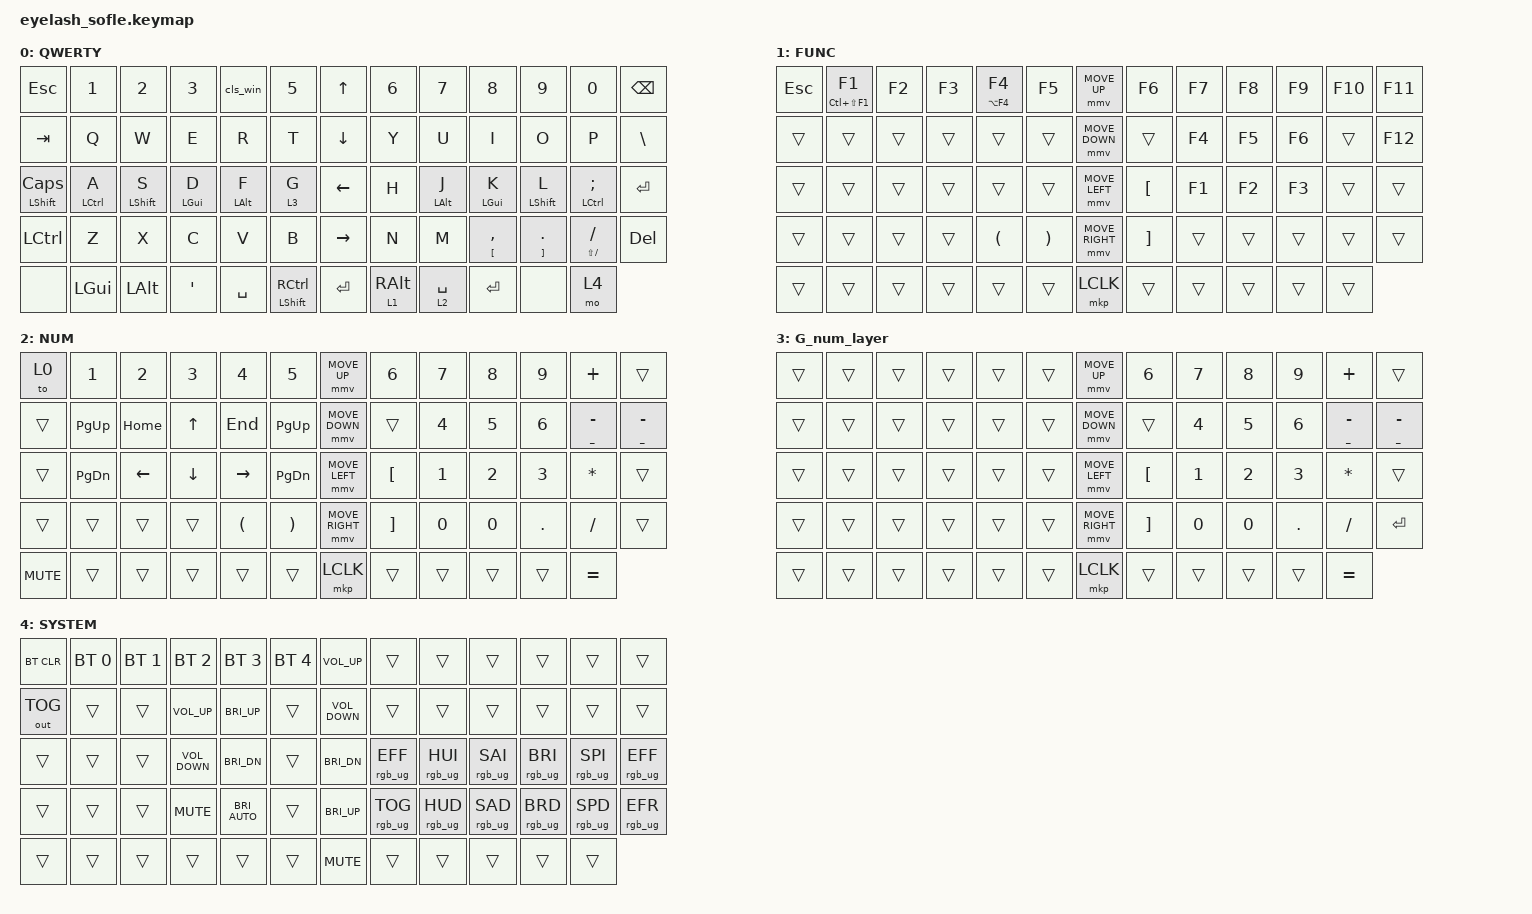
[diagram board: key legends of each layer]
#define ZMK_POINTING_DEFAULT_MOVE_VAL 600  // 600
#define ZMK_POINTING_DEFAULT_SCRL_VAL 25   // 10

#include <input/processors.dtsi>
#include <zephyr/dt-bindings/input/input-event-codes.h>
#include <dt-bindings/zmk/behaviors.h>
#include <behaviors.dtsi>
#include <dt-bindings/zmk/bt.h>
#include <dt-bindings/zmk/keys.h>
#include <dt-bindings/zmk/outputs.h>
#include <dt-bindings/zmk/pointing.h>
#include <dt-bindings/zmk/rgb.h>

/ {
    behaviors {
        hrow: hrow_mods {
            compatible = "zmk,behavior-hold-tap";
            label = "HROW-MODS";
            bindings = <&kp>, <&kp>;

            #binding-cells = <2>;
            tapping-term-ms = <200>;
            quick-tap-ms = <200>;
            flavor = "balanced";
            require-prior-idle-ms = <130>;
        };

        cls_win: cls_win {
            compatible = "zmk,behavior-tap-dance";
            label = "CLS_WIN";
            #binding-cells = <0>;
            bindings = <&kp NUMBER_4>, <&macro_44>, <&kp LA(F4)>;
        };

        hold_layer: hold_layer {
            compatible = "zmk,behavior-hold-tap";
            label = "HOLD_LAYER";
            bindings = <&mo>, <&kp>;

            #binding-cells = <2>;
            tapping-term-ms = <200>;
            quick-tap-ms = <150>;
            require-prior-idle-ms = <125>;
            flavor = "tap-preferred";
        };
    };
};

&mmv_input_listener { input-processors = <&zip_xy_scaler 2 1>; };

&msc_input_listener { input-processors = <&zip_scroll_scaler 2 1>; };

&lt {
    tapping-term-ms = <240>;
    quick-tap-ms = <150>;
    flavor = "balanced";
};

&mt {
    quick-tap-ms = <150>;
    flavor = "tap-preferred";
};

/ {
    behaviors {
    };

    combos {
        compatible = "zmk,combos";

        toggle_num_layer {
            bindings = <&tog 2>;
            key-positions = <28 29 30>;
        };

        to_default_layer {
            bindings = <&to 0>;
            key-positions = <34 35 36>;
        };

        end_remote {
            bindings = <&kp LC(LS(LA(Q)))>;
            key-positions = <14 15 16>;
        };

        ctrl+q {
            bindings = <&kp LC(Q)>;
            key-positions = <14 15>;
        };

        ctrl+a {
            bindings = <&kp LC(A)>;
            key-positions = <27 40>;
        };

        ctrl+z {
            bindings = <&kp LC(Z)>;
            key-positions = <40 41>;
        };

        tilde {
            bindings = <&kp TILDE>;
            key-positions = <0 1>;
        };

        auto_parenth {
            bindings = <&auto_parentheses>;
            key-positions = <43 44>;
        };

        auto_brkt {
            bindings = <&auto_bracket>;
            key-positions = <46 47>;
        };

        mouse_Lt {
            bindings = <&mkp LCLK>;
            key-positions = <34 35>;
        };

        mouse_Rt {
            bindings = <&mkp MB2>;
            key-positions = <35 36>;
        };

        mouse_middle {
            bindings = <&mkp MCLK>;
            key-positions = <21 23>;
        };

        mouse_prev {
            bindings = <&mkp MB4>;
            key-positions = <47 48>;
        };

        mouse_next {
            bindings = <&mkp MB5>;
            key-positions = <48 49>;
        };
    };

    macros {
        macro_44: macro_44 {
            compatible = "zmk,behavior-macro";
            #binding-cells = <0>;
            bindings = <&kp NUMBER_4 &kp NUMBER_4>;
            label = "MACRO_44";
        };

        auto_bracket: auto_bracket {
            compatible = "zmk,behavior-macro";
            #binding-cells = <0>;
            bindings = <&kp LEFT_BRACKET &kp RIGHT_BRACKET &kp LEFT>;
            label = "AUTO_BRACKET";
        };

        auto_parentheses: auto_parentheses {
            compatible = "zmk,behavior-macro";
            #binding-cells = <0>;
            bindings = <&kp LEFT_PARENTHESIS &kp RIGHT_PARENTHESIS &kp LEFT>;
            label = "AUTO_PARENTHESES";
        };
    };

    keymap {
        compatible = "zmk,keymap";

        Default {
            bindings = <
&kp ESC                &kp N1                &kp N2              &kp N3            &cls_win          &kp N5                          &kp UP_ARROW     &kp N6           &kp N7               &kp N8                  &kp N9                    &kp N0                        &kp BACKSPACE
&kp TAB                &kp Q                 &kp W               &kp E             &kp R             &kp T                           &kp DOWN_ARROW   &kp Y            &kp U                &kp I                   &kp O                     &kp P                         &kp BSLH
&hrow LEFT_SHIFT CAPS  &hrow LEFT_CONTROL A  &hrow LEFT_SHIFT S  &hrow LEFT_GUI D  &hrow LEFT_ALT F  &lt 3 G                         &kp LEFT_ARROW   &kp H            &hrow LEFT_ALT J     &hrow LEFT_GUI K        &hrow LEFT_SHIFT L        &hrow LEFT_CONTROL SEMICOLON  &kp ENTER
&kp LCTRL              &kp Z                 &kp X               &kp C             &kp V             &kp B                           &kp RIGHT_ARROW  &kp N            &kp M                &mt LEFT_BRACKET COMMA  &mt RIGHT_BRACKET PERIOD  &mt LS(SLASH) SLASH           &kp DEL
&none                  &kp LEFT_GUI          &kp LEFT_ALT        &kp SQT           &kp SPACE         &mt LEFT_SHIFT RIGHT_CONTROL    &kp ENTER        &lt 1 RIGHT_ALT  &hold_layer 2 SPACE  &kp ENTER               &none                     &mo 4
            >;

            display-name = "QWERTY";
        };

        Function_layer {
            bindings = <
&kp ESCAPE  &mt LC(LS(F1)) F1  &kp F2  &kp F3  &mt LA(F4) F4         &kp F5                   &mmv MOVE_UP     &kp F6             &kp F7  &kp F8  &kp F9  &kp F10  &kp F11
&trans      &trans             &trans  &trans  &trans                &trans                   &mmv MOVE_DOWN   &trans             &kp F4  &kp F5  &kp F6  &trans   &kp F12
&trans      &trans             &trans  &trans  &trans                &trans                   &mmv MOVE_LEFT   &kp LEFT_BRACKET   &kp F1  &kp F2  &kp F3  &trans   &trans
&trans      &trans             &trans  &trans  &kp LEFT_PARENTHESIS  &kp RIGHT_PARENTHESIS    &mmv MOVE_RIGHT  &kp RIGHT_BRACKET  &trans  &trans  &trans  &trans   &trans
&trans      &trans             &trans  &trans  &trans                &trans                   &mkp LCLK        &trans             &trans  &trans  &trans  &trans
            >;

            label = "FUNC";
        };

        number_layer {
            display-name = "NUM";
            bindings = <
&to 0       &kp N1         &kp N2    &kp N3        &kp N4                &kp N5                   &mmv MOVE_UP     &kp N6             &kp N7        &kp N8        &kp N9        &kp PLUS              &trans
&trans      &kp PAGE_UP    &kp HOME  &kp UP_ARROW  &kp END               &kp PAGE_UP              &mmv MOVE_DOWN   &trans             &kp NUMBER_4  &kp N5        &kp NUMBER_6  &mt UNDERSCORE MINUS  &mt UNDERSCORE MINUS
&trans      &kp PAGE_DOWN  &kp LEFT  &kp DOWN      &kp RIGHT             &kp PAGE_DOWN            &mmv MOVE_LEFT   &kp LEFT_BRACKET   &kp NUMBER_1  &kp NUMBER_2  &kp NUMBER_3  &kp ASTERISK          &trans
&trans      &trans         &trans    &trans        &kp LEFT_PARENTHESIS  &kp RIGHT_PARENTHESIS    &mmv MOVE_RIGHT  &kp RIGHT_BRACKET  &kp N0        &kp N0        &kp PERIOD    &kp SLASH             &trans
&kp C_MUTE  &trans         &trans    &trans        &trans                &trans                   &mkp LCLK        &trans             &trans        &trans        &trans        &kp EQUAL
            >;
        };

        G_num_layer {
            bindings = <
&trans  &trans  &trans  &trans  &trans  &trans    &mmv MOVE_UP     &kp N6             &kp N7  &kp N8  &kp N9   &kp PLUS              &trans
&trans  &trans  &trans  &trans  &trans  &trans    &mmv MOVE_DOWN   &trans             &kp N4  &kp N5  &kp N6   &mt UNDERSCORE MINUS  &mt UNDERSCORE MINUS
&trans  &trans  &trans  &trans  &trans  &trans    &mmv MOVE_LEFT   &kp LEFT_BRACKET   &kp N1  &kp N2  &kp N3   &kp ASTRK             &trans
&trans  &trans  &trans  &trans  &trans  &trans    &mmv MOVE_RIGHT  &kp RIGHT_BRACKET  &kp N0  &kp N0  &kp DOT  &kp FSLH              &kp ENTER
&trans  &trans  &trans  &trans  &trans  &trans    &mkp LCLK        &trans             &trans  &trans  &trans   &kp EQUAL
            >;
        };

        SYSTEM {
            label = "SYSTEM";
            bindings = <
&bt BT_CLR    &bt BT_SEL 0  &bt BT_SEL 1  &bt BT_SEL 2       &bt BT_SEL 3    &bt BT_SEL 4    &kp C_VOLUME_UP    &trans           &trans           &trans           &trans           &trans           &trans
&out OUT_TOG  &trans        &trans        &kp C_VOLUME_UP    &kp C_BRI_UP    &trans          &kp C_VOLUME_DOWN  &trans           &trans           &trans           &trans           &trans           &trans
&trans        &trans        &trans        &kp C_VOLUME_DOWN  &kp C_BRI_DN    &trans          &kp C_BRI_DN       &rgb_ug RGB_EFF  &rgb_ug RGB_HUI  &rgb_ug RGB_SAI  &rgb_ug RGB_BRI  &rgb_ug RGB_SPI  &rgb_ug RGB_EFF
&trans        &trans        &trans        &kp K_MUTE         &kp C_BRI_AUTO  &trans          &kp C_BRI_UP       &rgb_ug RGB_TOG  &rgb_ug RGB_HUD  &rgb_ug RGB_SAD  &rgb_ug RGB_BRD  &rgb_ug RGB_SPD  &rgb_ug RGB_EFR
&trans        &trans        &trans        &trans             &trans          &trans          &kp C_MUTE         &trans           &trans           &trans           &trans           &trans
            >;
        };
    };
};
